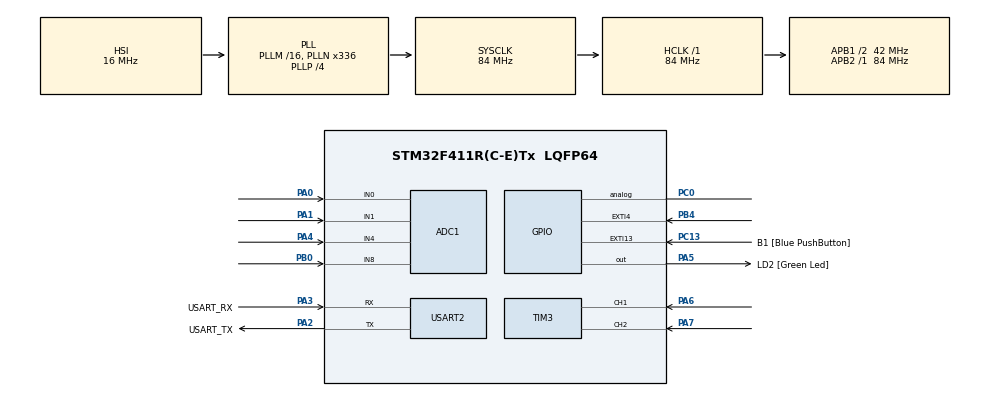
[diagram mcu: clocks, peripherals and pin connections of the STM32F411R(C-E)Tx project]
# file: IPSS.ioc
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ADC1.Channel-2\#ChannelRegularConversion=ADC_CHANNEL_0
ADC1.Channel-3\#ChannelRegularConversion=ADC_CHANNEL_1
ADC1.Channel-4\#ChannelRegularConversion=ADC_CHANNEL_4
ADC1.Channel-5\#ChannelRegularConversion=ADC_CHANNEL_8
ADC1.ContinuousConvMode=ENABLE
ADC1.DMAContinuousRequests=ENABLE
ADC1.InjNumberOfConversion=0
ADC1.NbrOfConversion=4
ADC1.NbrOfConversionFlag=1
ADC1.Rank-2\#ChannelRegularConversion=1
ADC1.Rank-3\#ChannelRegularConversion=2
ADC1.Rank-4\#ChannelRegularConversion=3
ADC1.Rank-5\#ChannelRegularConversion=4
ADC1.SamplingTime-2\#ChannelRegularConversion=ADC_SAMPLETIME_3CYCLES
ADC1.SamplingTime-3\#ChannelRegularConversion=ADC_SAMPLETIME_3CYCLES
ADC1.SamplingTime-4\#ChannelRegularConversion=ADC_SAMPLETIME_3CYCLES
ADC1.SamplingTime-5\#ChannelRegularConversion=ADC_SAMPLETIME_3CYCLES
ADC1.ScanConvMode=ENABLE
ADC1.master=1
Dma.ADC1.0.Direction=DMA_PERIPH_TO_MEMORY
Dma.ADC1.0.FIFOMode=DMA_FIFOMODE_DISABLE
Dma.ADC1.0.Instance=DMA2_Stream0
Dma.ADC1.0.MemDataAlignment=DMA_MDATAALIGN_HALFWORD
Dma.ADC1.0.MemInc=DMA_MINC_ENABLE
Dma.ADC1.0.Mode=DMA_CIRCULAR
Dma.ADC1.0.PeriphDataAlignment=DMA_PDATAALIGN_HALFWORD
Dma.ADC1.0.PeriphInc=DMA_PINC_DISABLE
Dma.ADC1.0.Priority=DMA_PRIORITY_MEDIUM
Dma.Request0=ADC1
Mcu.Family=STM32F4
Mcu.Name=STM32F411R(C-E)Tx
Mcu.Package=LQFP64
NVIC.DMA2_Stream0_IRQn=true\:0\:0\:false\:false\:true\:false\:true\:true
NVIC.EXTI4_IRQn=true\:0\:0\:false\:false\:true\:true\:true\:true
NVIC.PriorityGroup=NVIC_PRIORITYGROUP_0
PA0-WKUP.Signal=SharedAnalog_PA0
PA1.Signal=SharedAnalog_PA1
PA13.GPIO_Label=TMS
PA13.Mode=Serial_Wire
PA13.Signal=SYS_JTMS-SWDIO
PA14.GPIO_Label=TCK
PA14.Mode=Serial_Wire
PA14.Signal=SYS_JTCK-SWCLK
PA2.GPIO_Label=USART_TX
PA2.Mode=Asynchronous
PA2.Signal=USART2_TX
PA3.GPIO_Label=USART_RX
PA3.Mode=Asynchronous
PA3.Signal=USART2_RX
PA4.Signal=SharedAnalog_PA4
PA5.GPIO_Label=LD2 [Green Led]
PA5.Signal=GPIO_Output
PA6.Signal=S_TIM3_CH1
PA7.Signal=S_TIM3_CH2
PB0.Signal=ADCx_IN8
PB3.GPIO_Label=SWO
PB3.Signal=SYS_JTDO-SWO
PB4.GPIO_ModeDefaultEXTI=GPIO_MODE_IT_RISING
PB4.Signal=GPXTI4
PC0.Signal=GPIO_Analog
PC13-ANTI_TAMP.GPIO_Label=B1 [Blue PushButton]
PC13-ANTI_TAMP.GPIO_ModeDefaultEXTI=GPIO_MODE_IT_FALLING
PC13-ANTI_TAMP.Signal=GPXTI13
PC14-OSC32_IN.Mode=LSE-External-Oscillator
PC14-OSC32_IN.Signal=RCC_OSC32_IN
PC15-OSC32_OUT.Mode=LSE-External-Oscillator
PC15-OSC32_OUT.Signal=RCC_OSC32_OUT
PH0\ -\ OSC_IN.Mode=HSE-External-Clock-Source
PH0\ -\ OSC_IN.Signal=RCC_OSC_IN
PH1\ -\ OSC_OUT.Mode=HSE-External-Clock-Source
PH1\ -\ OSC_OUT.Signal=RCC_OSC_OUT
ProjectManager.HeapSize=0x200
ProjectManager.StackSize=0x400
ProjectManager.TargetToolchain=STM32CubeIDE
RCC.48MHZClocksFreq_Value=84000000
RCC.AHBFreq_Value=84000000
RCC.APB1CLKDivider=RCC_HCLK_DIV2
RCC.APB1Freq_Value=42000000
RCC.APB1TimFreq_Value=84000000
RCC.APB2Freq_Value=84000000
RCC.APB2TimFreq_Value=84000000
RCC.CortexFreq_Value=84000000
RCC.FLatency-AdvancedSettings=FLASH_LATENCY_2
RCC.HCLKFreq_Value=84000000
RCC.HSE_VALUE=8000000
RCC.HSI_VALUE=16000000
RCC.PLLN=336
RCC.PLLP=RCC_PLLP_DIV4
RCC.SYSCLKFreq_VALUE=84000000
RCC.SYSCLKSource=RCC_SYSCLKSOURCE_PLLCLK
RCC.VCOOutputFreq_Value=336000000
SH.ADCx_IN8.0=ADC1_IN8,IN8
SH.S_TIM3_CH1.0=TIM3_CH1,Encoder_Interface
SH.S_TIM3_CH2.0=TIM3_CH2,Encoder_Interface
SH.SharedAnalog_PA0.0=GPIO_Analog
SH.SharedAnalog_PA0.1=ADC1_IN0,IN0
SH.SharedAnalog_PA1.0=GPIO_Analog
SH.SharedAnalog_PA1.1=ADC1_IN1,IN1
SH.SharedAnalog_PA4.0=GPIO_Analog
SH.SharedAnalog_PA4.1=ADC1_IN4,IN4
TIM3.EncoderMode=TIM_ENCODERMODE_TI12
USART2.VirtualMode=VM_ASYNC
board=NUCLEO-F411RE

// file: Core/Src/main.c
/* USER CODE BEGIN Header */
/**
  ******************************************************************************
  * @file           : main.c
  * @brief          : Main program body
  ******************************************************************************
  * @attention
  *
  * Copyright (c) 2024 STMicroelectronics.
  * All rights reserved.
  *
  * This software is licensed under terms that can be found in the LICENSE file
  * in the root directory of this software component.
  * If no LICENSE file comes with this software, it is provided AS-IS.
  *
  ******************************************************************************
  */
/* USER CODE END Header */
#include "main.h"

/* USER CODE BEGIN PTD */
#define PENDULUM_LENGTH	0.295f
/* USER CODE END PTD */

ADC_HandleTypeDef hadc1;
DMA_HandleTypeDef hdma_adc1;

TIM_HandleTypeDef htim3;

UART_HandleTypeDef huart2;

void SystemClock_Config(void);
static void MX_GPIO_Init(void);
static void MX_DMA_Init(void);
static void MX_USART2_UART_Init(void);
static void MX_ADC1_Init(void);
static void MX_TIM3_Init(void);
/* USER CODE BEGIN PFP */
void HAL_GPIO_EXTI_Callback(uint16_t GPIO_Pin) {
    if (GPIO_Pin == GPIO_PIN_4) {  // Check if the interrupt is for PB4 (Zero Pulse)
        // Reset the encoder counter when Zero Pulse is detected
        //TIM3->CNT = 0;
    }
}
/* USER CODE END PFP */

/* USER CODE BEGIN 0 */
uint16_t adc_buffer[4];
char buffer[80] = {'\0'};
float accel,x_voltage, y_voltage, z_voltage, angle_encodeur, x_accel, y_accel, z_accel, pot_raw, pot_pos,pot_angle,linear_displacement, vel_intgr, vel_derv;
float prev_vel_intgr = 0.0f;
float prev_angle_enc = 0.0f;
float angle_radian;
uint32_t last_send_time = 0;
int32_t encoder_position = 0;
int16_t last_encoder_count = 0;
int i = 0;
int16_t initial_count = 0;
int16_t delta_count;
uint32_t last_time = 0;
float delta_time;
float angular_velocity;
float previous_angle = 0.0f;
float linear_velocity;
float max_speed = 0;
int16_t current_count;
/* USER CODE END 0 */

int main(void)
{

  /* MCU Configuration--------------------------------------------------------*/

  /* Reset of all peripherals, Initializes the Flash interface and the Systick. */
  HAL_Init();

  /* Configure the system clock */
  SystemClock_Config();

  /* Initialize all configured peripherals */
  MX_GPIO_Init();
  MX_DMA_Init();
  MX_USART2_UART_Init();
  MX_ADC1_Init();
  MX_TIM3_Init();
  /* USER CODE BEGIN 2 */
  HAL_TIM_Encoder_Start(&htim3, TIM_CHANNEL_ALL);
  HAL_ADC_Start_DMA(&hadc1, (uint32_t*)adc_buffer, 4);

  /* USER CODE END 2 */

  /* Infinite loop */
  while (1)
  {

    /* USER CODE BEGIN 3 */
	  // ADXL335
      //x_voltage = (adc_buffer[0] * 3.3f) / 4096;  // Assuming 12-bit ADC, convert to voltage
     // y_voltage = (adc_buffer[1] * 3.3f) / 4096;
     // z_voltage = (adc_buffer[2] * 3.3f) / 4096;

	    //current_count = TIM3->CNT;  // Lire le compteur actuel
	    /*if (current_count >= 4080) {
	        current_count %= 4080;  // Reste dans la plage [0, 4080)
	    }  // Calculer l'écart par rapport à la position initiale

	    // Gestion des dépassements de compteur (overflow/underflow)
	    /*if ((last_encoder_count > 60000) && (current_count < 1000)) {
	        encoder_position += (current_count + 65536 - last_encoder_count);
	    } else if ((last_encoder_count < 1000) && (current_count > 60000)) {
	        encoder_position -= (last_encoder_count + 65536 - current_count);
	    } else {
	        encoder_position += (current_count - last_encoder_count);
	    }*/

	    //last_encoder_count = current_count;  // Mettre à jour la dernière valeur

      //x_accel = ((x_voltage - 1.65 )/ 0.330)*9.81;

      // Angle

      //snprintf(buffer, sizeof(buffer), "%.2f:%.2f\r\n",linear_displacement, (linear_velocity));
      //HAL_UART_Transmit(&huart2, (uint8_t*)buffer, strlen(buffer), HAL_MAX_DELAY);
      //HAL_Delay(50);
  }
  /* USER CODE END 3 */
}

void SystemClock_Config(void)
{
  RCC_OscInitTypeDef RCC_OscInitStruct = {0};
  RCC_ClkInitTypeDef RCC_ClkInitStruct = {0};

  /** Configure the main internal regulator output voltage
  */
  __HAL_RCC_PWR_CLK_ENABLE();
  __HAL_PWR_VOLTAGESCALING_CONFIG(PWR_REGULATOR_VOLTAGE_SCALE1);

  /** Initializes the RCC Oscillators according to the specified parameters
  * in the RCC_OscInitTypeDef structure.
  */
  RCC_OscInitStruct.OscillatorType = RCC_OSCILLATORTYPE_HSI;
  RCC_OscInitStruct.HSIState = RCC_HSI_ON;
  RCC_OscInitStruct.HSICalibrationValue = RCC_HSICALIBRATION_DEFAULT;
  RCC_OscInitStruct.PLL.PLLState = RCC_PLL_ON;
  RCC_OscInitStruct.PLL.PLLSource = RCC_PLLSOURCE_HSI;
  RCC_OscInitStruct.PLL.PLLM = 16;
  RCC_OscInitStruct.PLL.PLLN = 336;
  RCC_OscInitStruct.PLL.PLLP = RCC_PLLP_DIV4;
  RCC_OscInitStruct.PLL.PLLQ = 4;
  if (HAL_RCC_OscConfig(&RCC_OscInitStruct) != HAL_OK)
  {
    Error_Handler();
  }

  /** Initializes the CPU, AHB and APB buses clocks
  */
  RCC_ClkInitStruct.ClockType = RCC_CLOCKTYPE_HCLK|RCC_CLOCKTYPE_SYSCLK
                              |RCC_CLOCKTYPE_PCLK1|RCC_CLOCKTYPE_PCLK2;
  RCC_ClkInitStruct.SYSCLKSource = RCC_SYSCLKSOURCE_PLLCLK;
  RCC_ClkInitStruct.AHBCLKDivider = RCC_SYSCLK_DIV1;
  RCC_ClkInitStruct.APB1CLKDivider = RCC_HCLK_DIV2;
  RCC_ClkInitStruct.APB2CLKDivider = RCC_HCLK_DIV1;

  if (HAL_RCC_ClockConfig(&RCC_ClkInitStruct, FLASH_LATENCY_2) != HAL_OK)
  {
    Error_Handler();
  }
}

static void MX_ADC1_Init(void)
{

  ADC_ChannelConfTypeDef sConfig = {0};

  /** Configure the global features of the ADC (Clock, Resolution, Data Alignment and number of conversion)
  */
  hadc1.Instance = ADC1;
  hadc1.Init.ClockPrescaler = ADC_CLOCK_SYNC_PCLK_DIV4;
  hadc1.Init.Resolution = ADC_RESOLUTION_12B;
  hadc1.Init.ScanConvMode = ENABLE;
  hadc1.Init.ContinuousConvMode = ENABLE;
  hadc1.Init.DiscontinuousConvMode = DISABLE;
  hadc1.Init.ExternalTrigConvEdge = ADC_EXTERNALTRIGCONVEDGE_NONE;
  hadc1.Init.ExternalTrigConv = ADC_SOFTWARE_START;
  hadc1.Init.DataAlign = ADC_DATAALIGN_RIGHT;
  hadc1.Init.NbrOfConversion = 4;
  hadc1.Init.DMAContinuousRequests = ENABLE;
  hadc1.Init.EOCSelection = ADC_EOC_SINGLE_CONV;
  if (HAL_ADC_Init(&hadc1) != HAL_OK)
  {
    Error_Handler();
  }

  /** Configure for the selected ADC regular channel its corresponding rank in the sequencer and its sample time.
  */
  sConfig.Channel = ADC_CHANNEL_0;
  sConfig.Rank = 1;
  sConfig.SamplingTime = ADC_SAMPLETIME_3CYCLES;
  if (HAL_ADC_ConfigChannel(&hadc1, &sConfig) != HAL_OK)
  {
    Error_Handler();
  }

  /** Configure for the selected ADC regular channel its corresponding rank in the sequencer and its sample time.
  */
  sConfig.Channel = ADC_CHANNEL_1;
  sConfig.Rank = 2;
  if (HAL_ADC_ConfigChannel(&hadc1, &sConfig) != HAL_OK)
  {
    Error_Handler();
  }

  /** Configure for the selected ADC regular channel its corresponding rank in the sequencer and its sample time.
  */
  sConfig.Channel = ADC_CHANNEL_4;
  sConfig.Rank = 3;
  if (HAL_ADC_ConfigChannel(&hadc1, &sConfig) != HAL_OK)
  {
    Error_Handler();
  }

  /** Configure for the selected ADC regular channel its corresponding rank in the sequencer and its sample time.
  */
  sConfig.Channel = ADC_CHANNEL_8;
  sConfig.Rank = 4;
  if (HAL_ADC_ConfigChannel(&hadc1, &sConfig) != HAL_OK)
  {
    Error_Handler();
  }

}

static void MX_TIM3_Init(void)
{

  TIM_Encoder_InitTypeDef sConfig = {0};
  TIM_MasterConfigTypeDef sMasterConfig = {0};

  htim3.Instance = TIM3;
  htim3.Init.Prescaler = 0;
  htim3.Init.CounterMode = TIM_COUNTERMODE_UP;
  htim3.Init.Period = 65535;
  htim3.Init.ClockDivision = TIM_CLOCKDIVISION_DIV1;
  htim3.Init.AutoReloadPreload = TIM_AUTORELOAD_PRELOAD_DISABLE;
  sConfig.EncoderMode = TIM_ENCODERMODE_TI12;
  sConfig.IC1Polarity = TIM_ICPOLARITY_RISING;
  sConfig.IC1Selection = TIM_ICSELECTION_DIRECTTI;
  sConfig.IC1Prescaler = TIM_ICPSC_DIV1;
  sConfig.IC1Filter = 5;
  sConfig.IC2Polarity = TIM_ICPOLARITY_RISING;
  sConfig.IC2Selection = TIM_ICSELECTION_DIRECTTI;
  sConfig.IC2Prescaler = TIM_ICPSC_DIV1;
  sConfig.IC2Filter = 5;
  if (HAL_TIM_Encoder_Init(&htim3, &sConfig) != HAL_OK)
  {
    Error_Handler();
  }
  sMasterConfig.MasterOutputTrigger = TIM_TRGO_RESET;
  sMasterConfig.MasterSlaveMode = TIM_MASTERSLAVEMODE_DISABLE;
  if (HAL_TIMEx_MasterConfigSynchronization(&htim3, &sMasterConfig) != HAL_OK)
  {
    Error_Handler();
  }

}

static void MX_USART2_UART_Init(void)
{

  huart2.Instance = USART2;
  huart2.Init.BaudRate = 115200;
  huart2.Init.WordLength = UART_WORDLENGTH_8B;
  huart2.Init.StopBits = UART_STOPBITS_1;
  huart2.Init.Parity = UART_PARITY_NONE;
  huart2.Init.Mode = UART_MODE_TX_RX;
  huart2.Init.HwFlowCtl = UART_HWCONTROL_NONE;
  huart2.Init.OverSampling = UART_OVERSAMPLING_16;
  if (HAL_UART_Init(&huart2) != HAL_OK)
  {
    Error_Handler();
  }

}

static void MX_DMA_Init(void)
{

  /* DMA controller clock enable */
  __HAL_RCC_DMA2_CLK_ENABLE();

  /* DMA interrupt init */
  /* DMA2_Stream0_IRQn interrupt configuration */
  HAL_NVIC_SetPriority(DMA2_Stream0_IRQn, 0, 0);
  HAL_NVIC_EnableIRQ(DMA2_Stream0_IRQn);

}

static void MX_GPIO_Init(void)
{
  GPIO_InitTypeDef GPIO_InitStruct = {0};

  /* GPIO Ports Clock Enable */
  __HAL_RCC_GPIOC_CLK_ENABLE();
  __HAL_RCC_GPIOH_CLK_ENABLE();
  __HAL_RCC_GPIOA_CLK_ENABLE();
  __HAL_RCC_GPIOB_CLK_ENABLE();

  /*Configure GPIO pin Output Level */
  HAL_GPIO_WritePin(LD2_GPIO_Port, LD2_Pin, GPIO_PIN_RESET);

  /*Configure GPIO pin : B1_Pin */
  GPIO_InitStruct.Pin = B1_Pin;
  GPIO_InitStruct.Mode = GPIO_MODE_IT_FALLING;
  GPIO_InitStruct.Pull = GPIO_NOPULL;
  HAL_GPIO_Init(B1_GPIO_Port, &GPIO_InitStruct);

  /*Configure GPIO pin : PC0 */
  GPIO_InitStruct.Pin = GPIO_PIN_0;
  GPIO_InitStruct.Mode = GPIO_MODE_ANALOG;
  GPIO_InitStruct.Pull = GPIO_NOPULL;
  HAL_GPIO_Init(GPIOC, &GPIO_InitStruct);

  /*Configure GPIO pin : LD2_Pin */
  GPIO_InitStruct.Pin = LD2_Pin;
  GPIO_InitStruct.Mode = GPIO_MODE_OUTPUT_PP;
  GPIO_InitStruct.Pull = GPIO_NOPULL;
  GPIO_InitStruct.Speed = GPIO_SPEED_FREQ_LOW;
  HAL_GPIO_Init(LD2_GPIO_Port, &GPIO_InitStruct);

  /*Configure GPIO pin : PB4 */
  GPIO_InitStruct.Pin = GPIO_PIN_4;
  GPIO_InitStruct.Mode = GPIO_MODE_IT_RISING;
  GPIO_InitStruct.Pull = GPIO_NOPULL;
  HAL_GPIO_Init(GPIOB, &GPIO_InitStruct);

  /* EXTI interrupt init*/
  HAL_NVIC_SetPriority(EXTI4_IRQn, 0, 0);
  HAL_NVIC_EnableIRQ(EXTI4_IRQn);

}
#define X_OFFSET 2025  // À ajuster avec tes mesures réelles
#define Y_OFFSET 2030

static float ConvertADCtoG(uint16_t adc_val, int offset) {
    // Relation : ±1 g = ±25 counts autour de l’offset
    return ((float)adc_val - (float)offset) / 50.0f;
}
/* USER CODE BEGIN 4 */
void HAL_ADC_ConvCpltCallback(ADC_HandleTypeDef *hadc) {

    if (hadc->Instance == ADC1) {

    	//Encoder
    	current_count = TIM3->CNT;
    	current_count = current_count/4;
        angle_encodeur = (current_count * 360.f) / 2048;

        //Vitesse derive du potion
        vel_derv = angle_encodeur - prev_angle_enc;

        //Vitesse
        angular_velocity = (angle_encodeur - previous_angle) / (0.005);
        linear_velocity = angular_velocity * PENDULUM_LENGTH;

        angle_radian = angle_encodeur * (3.1415 / 180.0f);

        // Déplacement
        linear_displacement = PENDULUM_LENGTH * angle_radian;
        previous_angle = angle_encodeur;

        //Position potentionmetre
    	pot_pos = (adc_buffer[3] * 360.f) / 4096.0f;

    	if(pot_pos <= 360 && pot_pos > 180){
    		//pot_pos = pot_pos - 360;
    	}

    	//Begin
        uint16_t x_adc = adc_buffer[0];
        uint16_t y_adc = adc_buffer[1];

        float x_g = ConvertADCtoG(x_adc, X_OFFSET);
        float y_g = ConvertADCtoG(y_adc, Y_OFFSET);

        accel = arctg((x_g * x_g) + (y_g * y_g));

    	//End

        // Envoi des données seulement après un délai
        uint32_t current_time = HAL_GetTick();
        if ((current_time - last_send_time) >= 100) { // 100 ms de délai
            snprintf(buffer, sizeof(buffer), "%.2f:%.2f:%.2f\r\n",
                     pot_pos, angle_encodeur,accel);
            HAL_UART_Transmit(&huart2, (uint8_t *)buffer, strlen(buffer), HAL_MAX_DELAY);
            last_send_time = current_time;
        }
    }
}

/* USER CODE END 4 */

void Error_Handler(void)
{
  __disable_irq();
  while (1)
  {
  }
}
